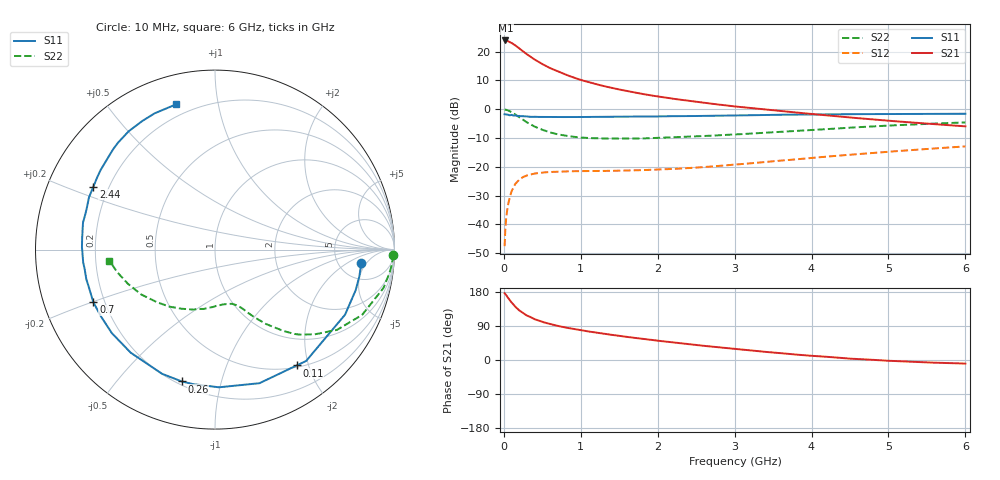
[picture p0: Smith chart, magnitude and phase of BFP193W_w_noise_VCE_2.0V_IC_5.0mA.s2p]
! Infineon Technologies  Discrete & RF Semiconductors
! BFP193W
! VCE = 2.0 V,  IC =  5.0 mA
! Common Emitter S-Parameters:  Jan 2016
# GHz  S  MA  R  50
!  f  S11  S21  S12  S22
! GHz  MAG  ANG  MAG  ANG  MAG  ANG  MAG  ANG
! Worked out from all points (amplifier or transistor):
!   210 points, 10 MHz to 6 GHz, reference 50 ohm
!   highest |S21| = 23.9 dB at 20 MHz (marker M1)
!   |S21| within 3 dB of that: start of sweep to 212.3 MHz
!   unconditionally stable (mu >= 1): 1.666 GHz to 4.686 GHz
!   at 185 MHz: K = 0.14, MSG = 23.2 dB, |S12| = -24.9 dB
!   at 1.52 GHz: K = 0.94, MSG = 14.0 dB, |S12| = -21.3 dB
!   at 6 GHz: K = 0.94, MSG = 3.5 dB, |S12| = -12.9 dB
!   lowest NFmin = 1.20 dB at 450 MHz
!   S11 on the Smith chart (normalised r, x): 10 MHz: 8.34, -3.77; 110 MHz: 0.53, -1.81; 260 MHz: 0.22, -0.75; 700 MHz: 0.16, -0.20; 2.44 GHz: 0.14, +0.24; 6 GHz: 0.14, +0.76
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0.01  0.8193 -5.2  15.67 176.2  0.0042 88.1  0.994 -1.8
0.02  0.8178 -10.7  15.68 174.1  0.0085 85.2  0.9872 -5.4
0.05  0.8103 -26.6  15.35 165.3  0.0203 76.6  0.9629 -12.8
0.1  0.8017 -50.7  14.26 151.9  0.0375 64.9  0.8968 -23.9
0.11  0.7899 -54.8  13.94 149.8  0.0401 62.4  0.8782 -25.7
0.15  0.7845 -71.6  12.89 140.2  0.0509 54.9  0.8131 -33.4
0.2  0.7675 -88.4  11.43 130.9  0.0598 47.5  0.7287 -40.4
0.26  0.7575 -104.2  9.924 122.4  0.0675 40.5  0.6446 -46.8
0.3  0.7522 -113.1  9.02 117.2  0.071 36.9  0.5927 -49.9
0.4  0.7419 -129.3  7.317 107.7  0.0766 30.3  0.5007 -55.7
0.5  0.7395 -141.0  6.102 100.4  0.0798 26.7  0.4401 -59.5
0.6  0.7365 -149.6  5.197 94.7  0.0815 23.9  0.3975 -62.4
0.7  0.7385 -156.6  4.548 90.0  0.0823 22.5  0.3675 -64.5
0.8  0.7331 -162.2  4.001 85.7  0.0834 21.6  0.3482 -66.6
1.02  0.7342 -171.6  3.177 78.0  0.0844 20.5  0.3224 -71.1
1.4  0.7425 176.1  2.357 66.4  0.0854 21.9  0.3102 -78.8
2.02  0.7521 161.2  1.657 50.5  0.0898 28.0  0.3202 -92.1
2.44  0.7629 152.6  1.38 41.0  0.0958 32.6  0.3376 -101.7
3.1  0.7837 140.5  1.088 27.4  0.112 38.4  0.3713 -117.0
4.1  0.8165 124.8  0.806 9.8  0.147 41.2  0.4443 -140.2
5.1  0.8303 113.1  0.618 -2.8  0.1875 39.0  0.5283 -160.4
6  0.8372 105.0  0.506 -9.5  0.2268 34.9  0.592 -174.1
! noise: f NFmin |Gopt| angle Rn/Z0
0.45  1.2  0.26  102  0.14
0.9  1.25  0.38  145  0.12
1.8  2.05  0.56  -161  0.12
